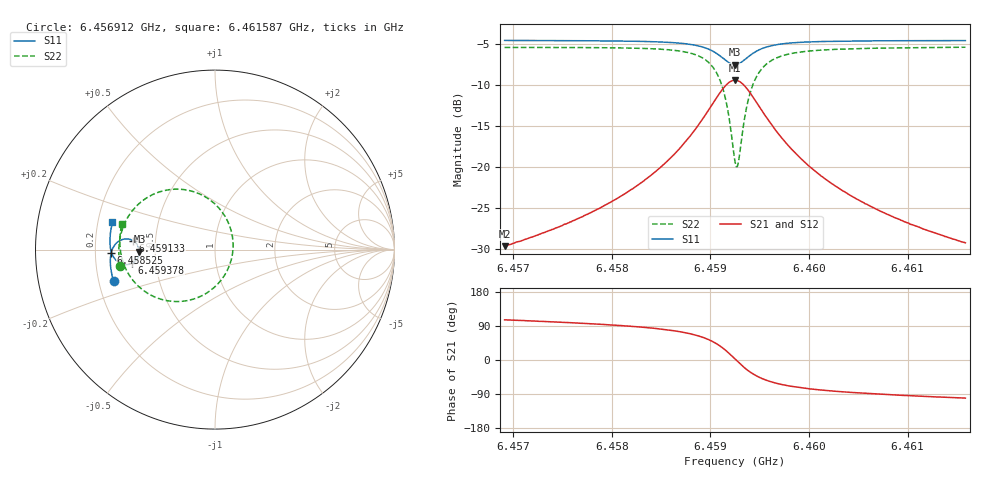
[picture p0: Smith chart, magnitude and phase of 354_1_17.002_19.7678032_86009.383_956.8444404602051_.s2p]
#  HZ  S  RI  R  50.00
! Rohde & Schwarz Vector Network Analyzer
! Rohde-Schwarz,ZNB20-2Port,1311601062101988,3.16
! Created: UTC 3/20/2024, 11:07:57 PM
! freq[Hz]  re:S11  im:S11  re:S21  im:S21  re:S12  im:S12  re:S22  im:S22
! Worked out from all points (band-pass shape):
!   401 points, 6.456912 GHz to 6.461587 GHz, reference 50 ohm
!   highest |S21| = -9.39 dB at 6.459249 GHz (marker M1); lowest = -29.6 dB at 6.456912 GHz (marker M2)
!   |S21| within 3 dB of the highest: 6.459016 GHz to 6.459483 GHz (467.6 kHz wide, 0.00724 % of centre)
!   lowest |S11| = -7.5 dB at 6.459249 GHz (marker M3), VSWR 2.46, Z = 20.4 - j0.582 ohm
!   |S11| at or under -10 dB: nowhere
!   |S22| runs from -19.9 to -5.4 dB; largest |S21 - S12| = 0.013
!   S11 on the Smith chart (normalised r, x): 6.456912 GHz: 0.26, -0.14; 6.458525 GHz: 0.27, -0.01; 6.459133 GHz: 0.37, +0.05; 6.459378 GHz: 0.36, -0.07; 6.461587 GHz: 0.26, +0.12
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6.4569116e9  -0.5652 -0.1773  -0.00905 0.0317  -0.00739 0.0316  -0.5292 -0.0899
6.4576948e9  -0.5798 -0.1093  -0.00601 0.0493  -0.0035 0.0488  -0.5359 0.000344
6.4581156e9  -0.5832 -0.0676  -0.000361 0.0678  0.00277 0.0666  -0.529 0.0652
6.458478e9  -0.5798 -0.0249  0.0132 0.097  0.0173 0.0943  -0.5043 0.1446
6.4585247e9  -0.5784 -0.0185  0.0164 0.1023  0.0205 0.0994  -0.4979 0.1577
6.4587351e9  -0.5665 0.0134  0.0419 0.1335  0.0462 0.1289  -0.4505 0.2287
6.4588871e9  -0.5456 0.0396  0.0839 0.1635  0.0872 0.1571  -0.3736 0.2925
6.459039e9  -0.5004 0.0593  0.174 0.1826  0.175 0.1754  -0.209 0.3366
6.4591325e9  -0.4565 0.0497  0.2624 0.1525  0.2627 0.1466  -0.0456 0.2886
6.4591793e9  -0.4357 0.0313  0.3056 0.1105  0.3067 0.1054  0.0359 0.2144
6.4592494e9  -0.421 -0.0118  0.3387 0.0157  0.342 0.0088  0.1007 0.0388
6.4592728e9  -0.4226 -0.0274  0.3368 -0.019  0.3404 -0.0271  0.097 -0.0268
6.4592845e9  -0.4247 -0.035  0.3332 -0.0358  0.3367 -0.0447  0.0901 -0.0586
6.4593313e9  -0.44 -0.0605  0.3055 -0.0947  0.3075 -0.1063  0.0345 -0.1696
6.459378e9  -0.4616 -0.0765  0.2645 -0.1354  0.2636 -0.1481  -0.0482 -0.2434
6.4594715e9  -0.5042 -0.0832  0.1815 -0.1662  0.1755 -0.1775  -0.2132 -0.2895
6.4596235e9  -0.5474 -0.0629  0.0951 -0.1533  0.0869 -0.1592  -0.3777 -0.242
6.4597871e9  -0.5686 -0.0353  0.0509 -0.1261  0.0436 -0.1288  -0.4568 -0.1716
6.4600326e9  -0.5811 0.000239  0.0222 -0.0953  0.0165 -0.0958  -0.5043 -0.0906
6.4603599e9  -0.5855 0.0389  0.00707 -0.0705  0.00289 -0.0699  -0.5251 -0.0167
6.4608158e9  -0.5836 0.0846  -0.00138 -0.0508  -0.00399 -0.0501  -0.53 0.0554
6.4615873e9  -0.5711 0.1525  -0.00631 -0.0339  -0.00807 -0.033  -0.5186 0.1451
